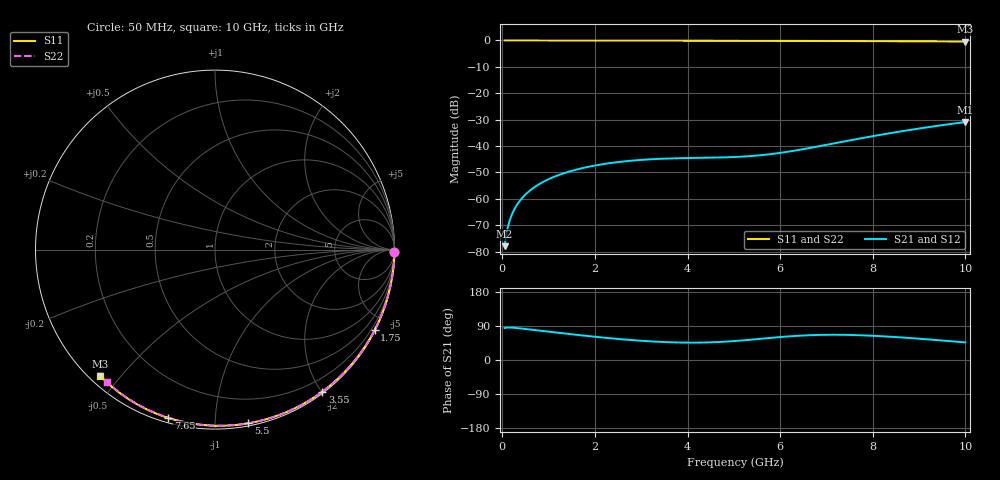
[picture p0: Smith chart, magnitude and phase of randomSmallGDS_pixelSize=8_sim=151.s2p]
! freq	dB(S11)	phase(S11)	dB(S12)	phase(S12)
!  dB(S21)	phase(S21)	dB(S22)	phase(S22)
!S-par simulation data
#  GHz  S  DB  R 50
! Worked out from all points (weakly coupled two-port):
!   200 points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, 50 MHz to 10 GHz, reference 50 ohm
!   highest |S21| = -30.90 dB at 10 GHz (marker M1); lowest = -77.9 dB at 50 MHz (marker M2)
!   lowest |S11| = -0.4 dB at 10 GHz (marker M3), VSWR 39.56, Z = 1.51 - j22.2 ohm
!   |S11| at or under -10 dB: nowhere
!   |S22| runs from -0.4 to 0.0 dB; largest |S21 - S12| = 0
!   S11 on the Smith chart (normalised r, x): 50 MHz: open; 1.75 GHz: 0.04, -4.21; 3.55 GHz: 0.02, -2.01; 5.5 GHz: 0.02, -1.21; 7.65 GHz: 0.02, -0.76; 10 GHz: 0.03, -0.44
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0.05  -0.00 -0.8  -77.93 84.3  -77.93 84.3  -0.00 -0.8
0.1  -0.00 -1.6  -72.18 85.6  -72.18 85.6  -0.00 -1.5
0.15  -0.00 -2.3  -68.72 85.7  -68.72 85.7  -0.00 -2.3
0.2  -0.00 -3.1  -66.25 85.5  -66.25 85.5  -0.00 -3.0
0.25  -0.00 -3.9  -64.33 85.0  -64.33 85.0  -0.00 -3.8
0.35  -0.00 -5.4  -61.43 83.9  -61.43 83.9  -0.00 -5.3
0.5  -0.01 -7.7  -58.37 81.9  -58.37 81.9  -0.01 -7.6
0.7  -0.01 -10.8  -55.52 79.1  -55.52 79.1  -0.01 -10.5
1  -0.02 -15.4  -52.57 74.8  -52.57 74.8  -0.02 -15.0
1.35  -0.03 -20.7  -50.19 69.9  -50.19 69.9  -0.03 -20.2
1.75  -0.03 -26.7  -48.28 64.5  -48.28 64.5  -0.03 -26.1
2.5  -0.05 -37.8  -46.07 55.5  -46.07 55.5  -0.05 -36.9
3.4  -0.07 -50.8  -44.85 47.9  -44.85 47.9  -0.07 -49.6
3.55  -0.07 -52.9  -44.74 47.1  -44.74 47.1  -0.07 -51.6
4.3  -0.09 -63.3  -44.46 46.0  -44.46 46.0  -0.09 -61.8
5.05  -0.11 -73.3  -44.13 50.4  -44.13 50.4  -0.11 -71.6
5.5  -0.13 -79.1  -43.61 55.1  -43.61 55.1  -0.12 -77.3
6.05  -0.15 -86.1  -42.47 61.1  -42.47 61.1  -0.15 -84.2
6.7  -0.18 -94.2  -40.54 65.7  -40.54 65.7  -0.18 -92.0
7.65  -0.24 -105.5  -37.38 65.6  -37.38 65.6  -0.23 -103.2
8.35  -0.29 -113.6  -35.19 61.6  -35.19 61.6  -0.28 -111.1
10  -0.44 -132.2  -30.90 46.4  -30.90 46.4  -0.43 -129.2
